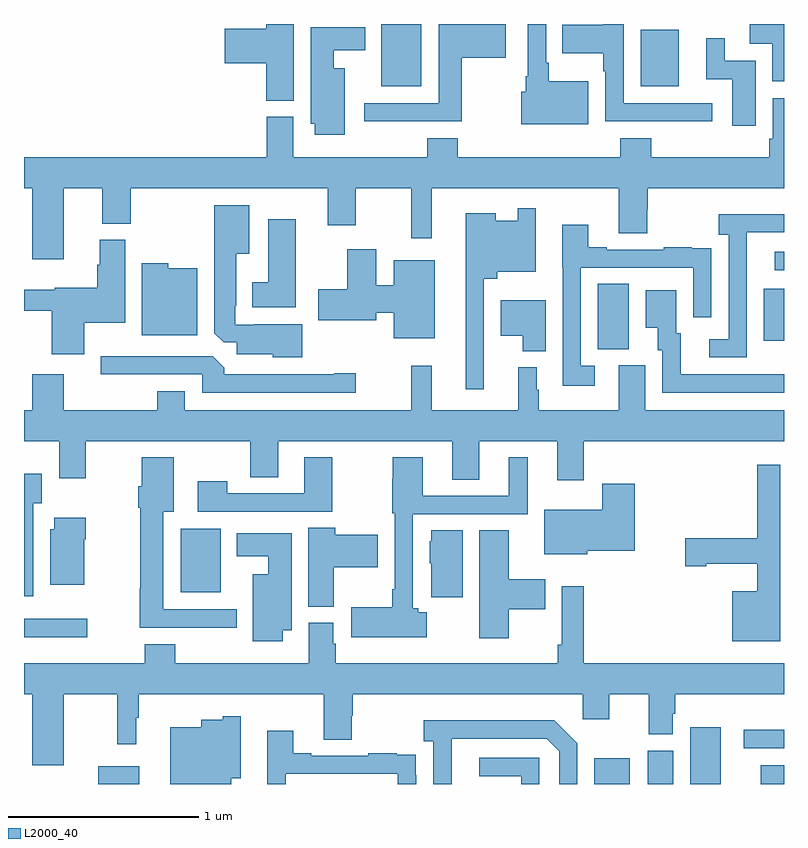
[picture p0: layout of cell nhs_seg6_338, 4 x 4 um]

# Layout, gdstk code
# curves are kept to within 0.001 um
import gdstk
lib = gdstk.Library(unit=1e-6, precision=1e-09)
def R(c, l, rs):  # rectangles x0, y0, x1, y1
    for r in rs: c.add(gdstk.rectangle(r[:2], r[2:], *l))
def P(c, l, *ps):  # polygons
    for p in ps: c.add(gdstk.Polygon(p, *l))
L2000_40 = (2000, 40)

nhs_seg6_338 = lib.new_cell('nhs_seg6_338')
R(nhs_seg6_338, L2000_40, [(129.392,977.5,129.607,977.593), (132.002,977.5,132.189,977.635), (132.284,977.5,132.418,977.676), (132.506,977.5,132.667,977.8), (132.878,977.5,133,977.599), (132.789,977.688,133,977.786), (129,978.272,129.334,978.369), (129.824,978.509,130.036,978.844), (132.02,979.789,132.184,980.132), (132.893,979.833,133,980.107), (132.951,980.205,133,980.301), (130.88,981.173,131.092,981.5), (132.245,981.173,132.445,981.469)])
P(nhs_seg6_338, L2000_40, [(131.971,981.199),(131.761,981.199),(131.761,981.295),(131.748,981.295),(131.748,981.5),(131.652,981.5),(131.652,981.226),(131.64,981.226),(131.64,981.143),(131.618,981.143),(131.618,980.972),(131.971,980.972)],
  [(133,981.5),(132.821,981.5),(132.821,981.395),(132.938,981.395),(132.938,981.198),(133,981.198)],
  [(131.304,981.323),(131.536,981.323),(131.536,981.5),(131.183,981.5),(131.183,981.084),(130.791,981.084),(130.791,980.987),(131.304,980.987)],
  [(132.622,981.084),(132.156,981.084),(132.156,981.5),(132.048,981.5),(132.048,981.495),(131.833,981.495),(131.833,981.347),(132.048,981.347),(132.048,981.251),(132.06,981.251),(132.06,980.988),(132.385,980.988),(132.385,980.987),(132.622,980.987)],
  [(130.42,981.5),(130.274,981.5),(130.274,981.476),(130.056,981.476),(130.056,981.293),(130.274,981.293),(130.274,981.097),(130.42,981.097)],
  [(130.687,981.268),(130.63,981.268),(130.63,981.362),(130.795,981.362),(130.795,981.484),(130.508,981.484),(130.508,980.976),(130.529,980.976),(130.529,980.916),(130.687,980.916)],
  [(132.85,981.306),(132.688,981.306),(132.688,981.424),(132.59,981.424),(132.59,981.21),(132.728,981.21),(132.728,980.964),(132.85,980.964)],
  [(129.208,980.636),(129.413,980.636),(129.413,980.449),(129.561,980.449),(129.561,980.636),(130.598,980.636),(130.598,980.442),(130.746,980.442),(130.746,980.636),(131.037,980.636),(131.037,980.373),(131.146,980.373),(131.146,980.636),(132.131,980.636),(132.131,980.398),(132.279,980.398),(132.279,980.523),(132.284,980.523),(132.284,980.636),(133,980.636),(133,981.109),(132.942,981.109),(132.942,980.896),(132.922,980.896),(132.922,980.8),(132.302,980.8),(132.302,980.899),(132.137,980.899),(132.137,980.8),(131.282,980.8),(131.282,980.899),(131.122,980.899),(131.122,980.8),(130.417,980.8),(130.417,981.012),(130.277,981.012),(130.277,980.8),(129,980.8),(129,980.636),(129.044,980.636),(129.044,980.262),(129.208,980.262)],
  [(130.465,979.921),(130.213,979.921),(130.213,979.917),(130.113,979.917),(130.113,980.017),(130.117,980.017),(130.117,980.291),(130.186,980.291),(130.186,980.545),(130.001,980.545),(130.001,979.873),(130.05,979.824),(130.121,979.824),(130.121,979.763),(130.308,979.763),(130.308,979.745),(130.465,979.745)],
  [(131.421,980.159),(131.49,980.159),(131.49,980.195),(131.694,980.195),(131.694,980.53),(131.598,980.53),(131.598,980.464),(131.482,980.464),(131.482,980.503),(131.324,980.503),(131.324,979.578),(131.421,979.578)],
  [(132.804,980.203),(132.805,980.203),(132.805,980.403),(133,980.403),(133,980.5),(132.657,980.5),(132.657,980.39),(132.708,980.39),(132.708,979.842),(132.606,979.842),(132.606,979.746),(132.804,979.746)],
  [(130.429,980.473),(130.286,980.473),(130.286,980.14),(130.202,980.14),(130.202,980.009),(130.429,980.009)],
  [(132.004,979.701),(131.931,979.701),(131.931,980.217),(132.522,980.217),(132.522,979.956),(132.618,979.956),(132.618,980.21),(132.617,980.21),(132.617,980.319),(132.515,980.319),(132.515,980.326),(132.367,980.326),(132.367,980.313),(132.067,980.313),(132.067,980.326),(131.971,980.326),(131.971,980.443),(131.834,980.443),(131.834,980.22),(131.835,980.22),(131.835,979.596),(132.004,979.596)],
  [(129.316,979.928),(129.532,979.928),(129.532,980.364),(129.398,980.364),(129.398,980.234),(129.386,980.234),(129.386,980.113),(129.162,980.113),(129.162,980.101),(129,980.101),(129,979.992),(129.146,979.992),(129.146,979.761),(129.316,979.761)],
  [(131.161,980.257),(130.946,980.257),(130.946,980.126),(130.855,980.126),(130.855,980.314),(130.7,980.314),(130.7,980.103),(130.548,980.103),(130.548,979.94),(130.855,979.94),(130.855,979.979),(130.946,979.979),(130.946,979.847),(131.161,979.847)],
  [(129.913,980.215),(129.759,980.215),(129.759,980.242),(129.62,980.242),(129.62,979.862),(129.913,979.862)],
  [(133,979.657),(132.941,979.657),(132.941,979.656),(132.457,979.656),(132.457,979.872),(132.433,979.872),(132.433,980.098),(132.272,980.098),(132.272,979.901),(132.335,979.901),(132.335,979.782),(132.36,979.782),(132.36,979.56),(133,979.56)],
  [(131.746,980.047),(131.51,980.047),(131.51,979.859),(131.624,979.859),(131.624,979.778),(131.746,979.778)],
  [(130.747,979.661),(130.634,979.661),(130.634,979.656),(130.055,979.656),(130.055,979.69),(129.993,979.752),(129.405,979.752),(129.405,979.656),(129.939,979.656),(129.939,979.56),(130.747,979.56)],
  [(131.947,979.304),(133,979.304),(133,979.468),(132.271,979.468),(132.271,979.704),(132.131,979.704),(132.131,979.468),(131.71,979.468),(131.71,979.575),(131.698,979.575),(131.698,979.693),(131.6,979.693),(131.6,979.468),(131.147,979.468),(131.147,979.702),(131.037,979.702),(131.037,979.468),(129.847,979.468),(129.847,979.567),(129.7,979.567),(129.7,979.468),(129.208,979.468),(129.208,979.657),(129.044,979.657),(129.044,979.468),(129,979.468),(129,979.304),(129.185,979.304),(129.185,979.11),(129.325,979.11),(129.325,979.304),(130.192,979.304),(130.192,979.114),(130.339,979.114),(130.339,979.304),(131.255,979.304),(131.255,979.102),(131.395,979.102),(131.395,979.304),(131.807,979.304),(131.807,979.098),(131.947,979.098)],
  [(130.623,979.219),(130.475,979.219),(130.475,979.029),(130.071,979.029),(130.071,979.093),(129.915,979.093),(129.915,978.933),(130.623,978.933)],
  [(131.119,978.404),(131.074,978.404),(131.074,978.426),(131.046,978.426),(131.046,978.921),(131.65,978.921),(131.65,979.219),(131.552,979.219),(131.552,979.017),(131.098,979.017),(131.098,979.219),(130.942,979.219),(130.942,979.106),(130.938,979.106),(130.938,978.924),(130.95,978.924),(130.95,978.526),(130.938,978.526),(130.938,978.43),(130.722,978.43),(130.722,978.272),(131.119,978.272)],
  [(130.12,978.42),(129.733,978.42),(129.733,978.932),(129.787,978.932),(129.787,979.219),(129.62,979.219),(129.62,979.068),(129.602,979.068),(129.602,978.954),(129.613,978.954),(129.613,978.527),(129.608,978.527),(129.608,978.323),(130.12,978.323)],
  [(132.979,979.18),(132.858,979.18),(132.858,978.794),(132.48,978.794),(132.48,978.647),(132.592,978.647),(132.592,978.659),(132.858,978.659),(132.858,978.514),(132.728,978.514),(132.728,978.251),(132.979,978.251)],
  [(129.049,978.978),(129.094,978.978),(129.094,979.132),(129,979.132),(129,978.489),(129.049,978.489)],
  [(131.964,978.728),(132.215,978.728),(132.215,979.081),(132.044,979.081),(132.044,978.943),(131.738,978.943),(131.738,978.71),(131.964,978.71)],
  [(129.316,978.788),(129.324,978.788),(129.324,978.901),(129.158,978.901),(129.158,978.84),(129.137,978.84),(129.137,978.548),(129.316,978.548)],
  [(130.63,978.641),(130.861,978.641),(130.861,978.812),(130.638,978.812),(130.638,978.848),(130.496,978.848),(130.496,978.433),(130.63,978.433)],
  [(131.551,978.419),(131.744,978.419),(131.744,978.577),(131.551,978.577),(131.551,978.836),(131.396,978.836),(131.396,978.267),(131.551,978.267)],
  [(131.308,978.836),(131.144,978.836),(131.144,978.777),(131.135,978.777),(131.135,978.663),(131.144,978.663),(131.144,978.483),(131.308,978.483)],
  [(130.363,978.308),(130.408,978.308),(130.408,978.82),(130.121,978.82),(130.121,978.698),(130.286,978.698),(130.286,978.604),(130.205,978.604),(130.205,978.252),(130.363,978.252)],
  [(129.208,977.972),(129.49,977.972),(129.49,977.709),(129.592,977.709),(129.592,977.849),(129.604,977.849),(129.604,977.972),(130.577,977.972),(130.577,977.734),(130.725,977.734),(130.725,977.859),(130.73,977.859),(130.73,977.972),(131.94,977.972),(131.94,977.841),(132.079,977.841),(132.079,977.972),(132.287,977.972),(132.287,977.761),(132.415,977.761),(132.415,977.871),(132.428,977.871),(132.428,977.972),(133,977.972),(133,978.136),(131.945,978.136),(131.945,978.541),(131.829,978.541),(131.829,978.232),(131.809,978.232),(131.809,978.136),(130.64,978.136),(130.64,978.237),(130.627,978.237),(130.627,978.348),(130.499,978.348),(130.499,978.136),(129.795,978.136),(129.795,978.235),(129.635,978.235),(129.635,978.136),(129,978.136),(129,977.972),(129.044,977.972),(129.044,977.598),(129.208,977.598)],
  [(130.09,977.531),(130.141,977.531),(130.141,977.857),(130.047,977.857),(130.047,977.839),(129.932,977.839),(129.932,977.8),(129.77,977.8),(129.77,977.5),(130.09,977.5)],
  [(131.25,977.539),(131.251,977.739),(131.751,977.739),(131.817,977.673),(131.817,977.5),(131.913,977.5),(131.913,977.715),(131.792,977.836),(131.103,977.836),(131.103,977.726),(131.154,977.726),(131.154,977.5),(131.25,977.5)],
  [(130.377,977.553),(130.968,977.553),(130.968,977.5),(131.064,977.5),(131.064,977.546),(131.063,977.546),(131.063,977.655),(130.961,977.655),(130.961,977.662),(130.813,977.662),(130.813,977.649),(130.513,977.649),(130.513,977.662),(130.417,977.662),(130.417,977.779),(130.28,977.779),(130.28,977.556),(130.281,977.556),(130.281,977.5),(130.377,977.5)],
  [(131.712,977.637),(131.397,977.637),(131.397,977.541),(131.616,977.541),(131.616,977.5),(131.712,977.5)])

lib.write_gds('nhs_seg6_338.gds')
